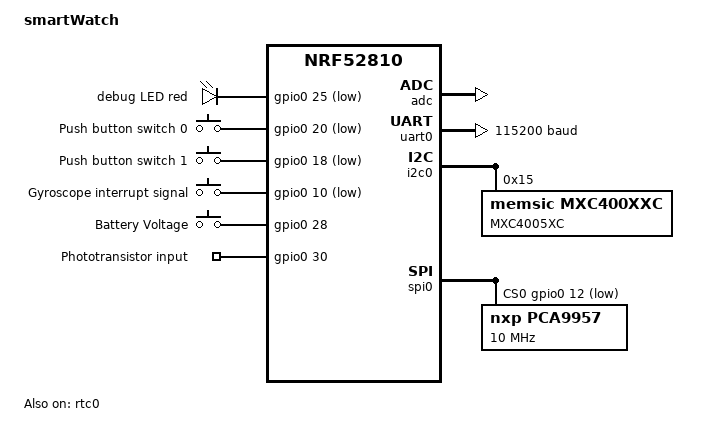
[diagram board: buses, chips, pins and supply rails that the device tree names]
/*
 * Copyright (c) 2025 Simon Brenninger
 * SPDX-License-Identifier: GPLv3
 */

/dts-v1/;
#include <nordic/nrf52810_qfaa.dtsi>
#include "smartWatch-pinctrl.dtsi"
#include <zephyr/dt-bindings/input/input-event-codes.h>

/ {
	model = "smartWatch";
	compatible = "custom,smartWatch";

	chosen {
		zephyr,console = &uart0;
		zephyr,shell-uart = &uart0;
		zephyr,uart-mcumgr = &uart0;
		zephyr,bt-mon-uart = &uart0;
		zephyr,bt-c2h-uart = &uart0;
		zephyr,sram = &sram0;
		zephyr,flash = &flash0;
		zephyr,code-partition = &slot0_partition;
	};

	leds {
		compatible = "gpio-leds";
		led0: led_0 {
			gpios = <&gpio0 25 GPIO_ACTIVE_LOW>;
			label = "debug LED red";
		};
	};

	buttons {
		compatible = "gpio-keys";
		button0: button_0 {
			label = "Push button switch 0";
			gpios = <&gpio0 20 (GPIO_PULL_UP | GPIO_ACTIVE_LOW)>;
			zephyr,code = <INPUT_KEY_0>;
		};
		button1: button_1 {
			label = "Push button switch 1";
			gpios = <&gpio0 18 (GPIO_PULL_UP | GPIO_ACTIVE_LOW)>;
			zephyr,code = <INPUT_KEY_1>;
		};
	};

	custom_pins {
		compatible = "gpio-keys";
		gyroint: gyroint {
			label = "Gyroscope interrupt signal";
			gpios = <&gpio0 10 (GPIO_ACTIVE_LOW)>;
		};
		batsens: batsens {
			label = "Battery Voltage";
			gpios = <&gpio0 28 (GPIO_ACTIVE_HIGH)>;
		};
		photo: photosens {
			label = "Phototransistor input";
			gpios = <&gpio0 30 (GPIO_ACTIVE_HIGH)>;
		};
	};

	/* These aliases are provided for compatibility with samples */
	aliases {
		led0 = &led0;
		sw0 = &button0;
		sw1 = &button1;
		bootloader-led0 = &led0;
		mcuboot-button0 = &button0;
		mcuboot-led0 = &led0;
		watchdog0 = &wdt0;
	};
};

&reg {
	regulator-initial-mode = <NRF5X_REG_MODE_DCDC>;
};

&rtc0 {
	status = "okay";

	backup_regs {
		status = "okay";
	};
};

&adc {
	status = "okay";
};

&uicr {
	gpio-as-nreset;
};

&gpiote {
	status = "okay";
};

&gpio0 {
	status = "okay";
};

&uart0 {
	compatible = "nordic,nrf-uarte";
	status = "okay";
	current-speed = <115200>;
	pinctrl-0 = <&uart0_default>;
	pinctrl-1 = <&uart0_sleep>;
	pinctrl-names = "default", "sleep";
};

&i2c0 {
	compatible = "nordic,nrf-twi";
	status = "okay";
	pinctrl-0 = <&i2c0_default>;
	pinctrl-1 = <&i2c0_sleep>;
	pinctrl-names = "default", "sleep";

	mxc400: mxc400@15 {
		compatible = "memsic,mxc400xxc";
		label = "MXC4005XC";
		reg = <0x15>;
	};
};

&spi0 {
	compatible = "nordic,nrf-spi";
	status = "okay";
	pinctrl-0 = <&spi0_default>;
	pinctrl-1 = <&spi0_sleep>;
	pinctrl-names = "default", "sleep";
	cs-gpios = <&gpio0 12 GPIO_ACTIVE_LOW>;

	pca9957: pca9957@0 {
		compatible = "nxp,pca9957";
		reg = <0>;
		spi-max-frequency = <10000000>;
	};
};

&flash0 {

	partitions {
		compatible = "fixed-partitions";
		#address-cells = <1>;
		#size-cells = <1>;

		boot_partition: partition@0 {
			label = "mcuboot";
			reg = <0x00000000 0xc000>;
		};
		slot0_partition: partition@c000 {
			label = "image-0";
			reg = <0x0000C000 0xe000>;
		};
		slot1_partition: partition@1a000 {
			label = "image-1";
			reg = <0x0001a000 0xe000>;
		};
		storage_partition: partition@28000 {
			label = "storage";
			reg = <0x00028000 0x00008000>;
		};
	};
};
